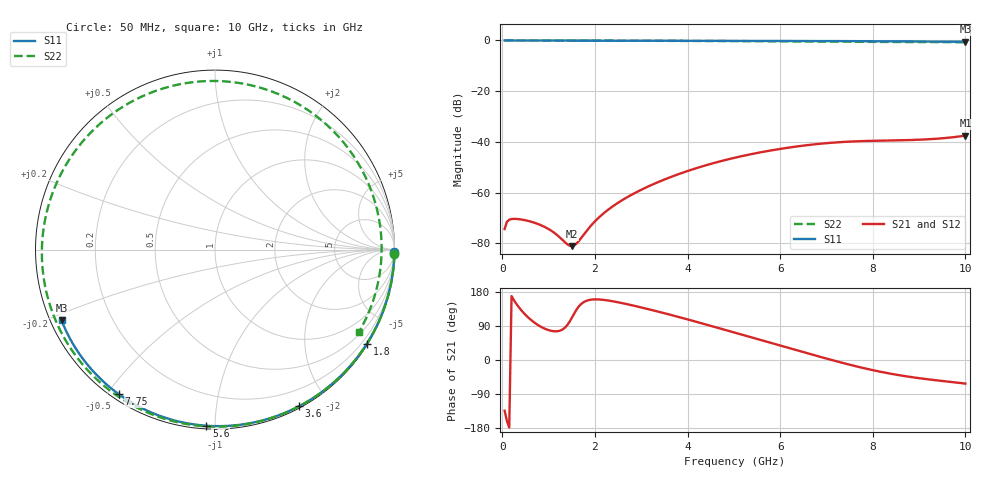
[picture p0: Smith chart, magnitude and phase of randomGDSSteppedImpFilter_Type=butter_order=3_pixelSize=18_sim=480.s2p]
! freq	dB(S11)	phase(S11)	dB(S12)	phase(S12)
!  dB(S21)	phase(S21)	dB(S22)	phase(S22)
!S-par simulation data
#  GHz  S  DB  R 50
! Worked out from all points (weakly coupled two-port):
!   200 points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, 50 MHz to 10 GHz, reference 50 ohm
!   highest |S21| = -37.54 dB at 10 GHz (marker M1); lowest = -81.1 dB at 1.5 GHz (marker M2)
!   lowest |S11| = -0.5 dB at 10 GHz (marker M3), VSWR 33.20, Z = 1.58 - j11 ohm
!   |S11| at or under -10 dB: nowhere
!   |S22| runs from -0.7 to 0.0 dB; largest |S21 - S12| = 0
!   S11 on the Smith chart (normalised r, x): 50 MHz: open; 1.8 GHz: 0.03, -3.51; 3.6 GHz: 0.02, -1.67; 5.6 GHz: 0.02, -0.95; 7.75 GHz: 0.02, -0.54; 10 GHz: 0.03, -0.22
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0.05  -0.00 -0.9  -74.39 -133.7  -74.39 -133.7  -0.00 -1.6
0.15  -0.00 -2.7  -70.70 -178.2  -70.70 -178.2  -0.00 -4.7
0.5  -0.01 -8.9  -70.92 119.3  -70.92 119.3  -0.01 -15.6
0.9  -0.02 -16.0  -73.40 83.6  -73.40 83.6  -0.03 -27.9
1.5  -0.03 -26.6  -81.14 111.0  -81.14 111.0  -0.06 -46.2
1.6  -0.04 -28.3  -80.17 132.4  -80.17 132.4  -0.06 -49.3
1.75  -0.04 -30.9  -76.76 152.1  -76.76 152.1  -0.07 -53.8
1.8  -0.04 -31.8  -75.56 155.4  -75.56 155.4  -0.07 -55.3
2.4  -0.05 -42.0  -65.24 154.7  -65.24 154.7  -0.09 -73.4
3.4  -0.08 -58.6  -55.60 126.6  -55.60 126.6  -0.14 -103.3
3.6  -0.08 -61.9  -54.13 120.3  -54.13 120.3  -0.15 -109.4
4.3  -0.10 -73.0  -49.75 97.1  -49.75 97.1  -0.19 -131.0
5.05  -0.13 -84.5  -46.13 71.1  -46.13 71.1  -0.25 -155.6
5.6  -0.15 -92.8  -44.04 51.9  -44.04 51.9  -0.30 -175.2
6.15  -0.18 -100.8  -42.35 32.8  -42.35 32.8  -0.36 163.4
6.7  -0.21 -108.8  -41.05 13.9  -41.05 13.9  -0.43 139.5
7.25  -0.25 -116.6  -40.16 -4.5  -40.16 -4.5  -0.50 112.9
7.75  -0.29 -123.6  -39.71 -19.9  -39.71 -19.9  -0.55 86.5
8.35  -0.34 -132.0  -39.46 -35.4  -39.46 -35.4  -0.59 53.4
8.75  -0.38 -137.5  -39.30 -43.6  -39.30 -43.6  -0.62 31.4
9.15  -0.42 -143.1  -39.02 -50.3  -39.02 -50.3  -0.63 10.2
10  -0.52 -155.2  -37.54 -62.3  -37.54 -62.3  -0.69 -29.8
